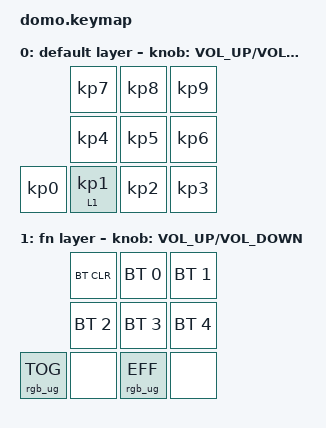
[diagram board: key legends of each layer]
/*
 * Copyright (c) 2021 The ZMK Contributors
 *
 * SPDX-License-Identifier: MIT
 */

#include <behaviors.dtsi>
#include <dt-bindings/zmk/keys.h>
#include <dt-bindings/zmk/bt.h>
#include <dt-bindings/zmk/rgb.h>


#define TIMEOUT 300

&encoder_1 {
    status = "okay";
};

&soft_off {
    hold-time-ms = <500>; // Only turn off it the key is held for 500 ms or longer.
};


/ {
    combos {
        compatible = "zmk,combos";
        combo_btclr {
            timeout-ms = <TIMEOUT>;
            key-positions = <1 6>;
            bindings = <&bt BT_CLR>;
        };
        combo_reset {
            timeout-ms = <TIMEOUT>;
            key-positions = <1 3>;
            bindings = <&sys_reset>;
        };
        combo_bootloader {
            timeout-ms = <TIMEOUT>;
            key-positions = <1 2>;
            bindings = <&bootloader>;
        };
        combo_bt_nxt {
            timeout-ms = <TIMEOUT>;
            key-positions = <1 4>;
            bindings = <&bt BT_NXT>;
        };

        combo_soft_off {
            timeout-ms = <TIMEOUT>; // wait for the second key to be pressed for combo
            key-positions = <0 1>; // 0th key and 1st key of the keymap for the combo.
            bindings = <&soft_off>; //The soft off behavior is used to force the keyboard into an off state. The keyboard can be turned back on again either with using the reset button found on the device.
        };
    };

    sensors: sensors {
        compatible = "zmk,keymap-sensors";
        sensors = <&encoder_1>;
        triggers-per-rotation = <20>;
    };


    keymap0: keymap {
        compatible = "zmk,keymap";

        default_layer {
            display-name = "default layer";
            bindings = <
                        &kp KP_N7   &kp KP_N8   &kp KP_N9
                        &kp KP_N4   &kp KP_N5   &kp KP_N6
            &kp KP_N0   &lt 1 KP_N1 &kp KP_N2   &kp KP_N3
            >;
            sensor-bindings = <&inc_dec_kp C_VOLUME_UP C_VOLUME_DOWN>;

        };

        fn_layer {
            display-name = "fn layer";
            bindings = <
                                    &bt BT_CLR      &bt BT_SEL 0    &bt BT_SEL 1
                                    &bt BT_SEL 2    &bt BT_SEL 3    &bt BT_SEL 4
                &rgb_ug RGB_TOG     &none           &rgb_ug RGB_EFF &none
            >;
            sensor-bindings = <&inc_dec_kp C_VOLUME_UP C_VOLUME_DOWN>;

        };
    };
};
